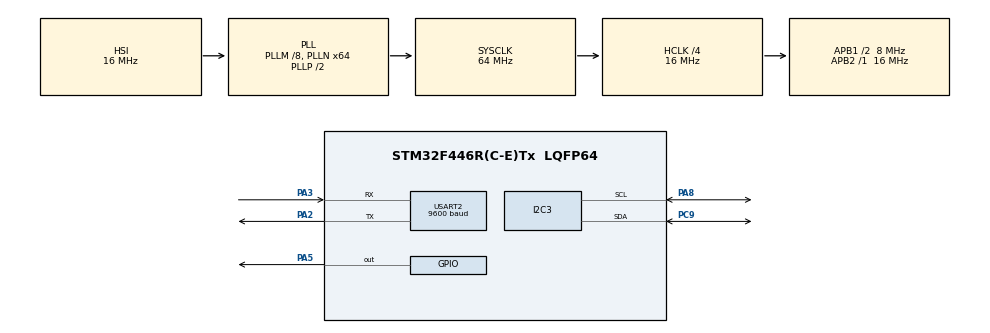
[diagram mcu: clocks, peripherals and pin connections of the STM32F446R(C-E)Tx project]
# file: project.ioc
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I2C3.I2C_Mode=I2C_Standard
Mcu.Family=STM32F4
Mcu.Name=STM32F446R(C-E)Tx
Mcu.Package=LQFP64
NVIC.PriorityGroup=NVIC_PRIORITYGROUP_4
NVIC.RCC_IRQn=true\:0\:0\:false\:false\:true\:true
PA2.Mode=Asynchronous
PA2.Signal=USART2_TX
PA3.Mode=Asynchronous
PA3.Signal=USART2_RX
PA5.Signal=GPIO_Output
PA8.Mode=I2C
PA8.Signal=I2C3_SCL
PC9.Mode=I2C
PC9.Signal=I2C3_SDA
PH0-OSC_IN.Mode=HSE-External-Oscillator
PH0-OSC_IN.Signal=RCC_OSC_IN
PH1-OSC_OUT.Mode=HSE-External-Oscillator
PH1-OSC_OUT.Signal=RCC_OSC_OUT
ProjectManager.HeapSize=0x200
ProjectManager.StackSize=0x400
ProjectManager.TargetToolchain=EWARM
RCC.AHBCLKDivider=RCC_SYSCLK_DIV4
RCC.AHBFreq_Value=16000000
RCC.APB1CLKDivider=RCC_HCLK_DIV2
RCC.APB1Freq_Value=8000000
RCC.APB1TimFreq_Value=16000000
RCC.APB2Freq_Value=16000000
RCC.APB2TimFreq_Value=16000000
RCC.CortexFreq_Value=16000000
RCC.HCLKFreq_Value=16000000
RCC.PLLM=8
RCC.PLLN=64
RCC.SYSCLKFreq_VALUE=64000000
RCC.SYSCLKSource=RCC_SYSCLKSOURCE_PLLCLK
RCC.USBFreq_Value=64000000
RCC.VCOOutputFreq_Value=128000000
USART2.BaudRate=9600
USART2.VirtualMode=VM_ASYNC
board=project

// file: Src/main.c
/**
  ******************************************************************************
  * File Name          : main.c
  * Description        : Main program body
  ******************************************************************************
  ** This notice applies to any and all portions of this file
  * that are not between comment pairs USER CODE BEGIN and
  * USER CODE END. Other portions of this file, whether
  * inserted by the user or by software development tools
  * are owned by their respective copyright owners.
  *
  * COPYRIGHT(c) 2017 STMicroelectronics
  *
  * Redistribution and use in source and binary forms, with or without modification,
  * are permitted provided that the following conditions are met:
  *   1. Redistributions of source code must retain the above copyright notice,
  *      this list of conditions and the following disclaimer.
  *   2. Redistributions in binary form must reproduce the above copyright notice,
  *      this list of conditions and the following disclaimer in the documentation
  *      and/or other materials provided with the distribution.
  *   3. Neither the name of STMicroelectronics nor the names of its contributors
  *      may be used to endorse or promote products derived from this software
  *      without specific prior written permission.
  *
  * THIS SOFTWARE IS PROVIDED BY THE COPYRIGHT HOLDERS AND CONTRIBUTORS "AS IS"
  * AND ANY EXPRESS OR IMPLIED WARRANTIES, INCLUDING, BUT NOT LIMITED TO, THE
  * IMPLIED WARRANTIES OF MERCHANTABILITY AND FITNESS FOR A PARTICULAR PURPOSE ARE
  * DISCLAIMED. IN NO EVENT SHALL THE COPYRIGHT HOLDER OR CONTRIBUTORS BE LIABLE
  * FOR ANY DIRECT, INDIRECT, INCIDENTAL, SPECIAL, EXEMPLARY, OR CONSEQUENTIAL
  * DAMAGES (INCLUDING, BUT NOT LIMITED TO, PROCUREMENT OF SUBSTITUTE GOODS OR
  * SERVICES; LOSS OF USE, DATA, OR PROFITS; OR BUSINESS INTERRUPTION) HOWEVER
  * CAUSED AND ON ANY THEORY OF LIABILITY, WHETHER IN CONTRACT, STRICT LIABILITY,
  * OR TORT (INCLUDING NEGLIGENCE OR OTHERWISE) ARISING IN ANY WAY OUT OF THE USE
  * OF THIS SOFTWARE, EVEN IF ADVISED OF THE POSSIBILITY OF SUCH DAMAGE.
  *
  ******************************************************************************
  */
#include "main.h"
#include "stm32f4xx_hal.h"

/* USER CODE BEGIN Includes */
#include "mpu9250.h"

/* USER CODE END Includes */

I2C_HandleTypeDef hi2c3;

UART_HandleTypeDef huart2;

/* USER CODE BEGIN PV */

uint8_t buffer[6];
uint8_t  data[6];

float gyroscope[3];
float acceleration[3];
/* Private variables ---------------------------------------------------------*/

/* USER CODE END PV */

void SystemClock_Config(void);
static void MX_GPIO_Init(void);
static void MX_I2C3_Init(void);
static void MX_USART2_UART_Init(void);

/* USER CODE BEGIN PFP */
/* Private function prototypes -----------------------------------------------*/
#ifdef __GNUC__
  #define PUTCHAR_PROTOTYPE int __io_putchar(int ch)
#else
  #define PUTCHAR_PROTOTYPE int fputc(int ch, FILE *f)
#endif
/* USER CODE END PFP */

/* USER CODE BEGIN 0 */
PUTCHAR_PROTOTYPE
{
  HAL_UART_Transmit(&huart2, (uint8_t *)&ch, 1, 0xFFFF);
  HAL_StatusTypeDef HAL_UART_Transmit(UART_HandleTypeDef *huart, uint8_t *pData,
                                      uint16_t Size, uint32_t TimeOut);
  return ch;
}
/* USER CODE END 0 */

int main(void)
{
  uint8_t comState = 0;
  /* USER CODE BEGIN 1 */
  float gyroscope_bias[3];
  float accelerometer_bias[3];;

  float temperature;

  /* USER CODE END 1 */

  /* MCU Configuration----------------------------------------------------------*/

  /* Reset of all peripherals, Initializes the Flash interface and the Systick. */
  HAL_Init();

  /* Configure the system clock */
  SystemClock_Config();

  /* Initialize all configured peripherals */
  MX_GPIO_Init();
  MX_I2C3_Init();
  MX_USART2_UART_Init();

  /* USER CODE BEGIN 2 */

  printf("Initialazing..\n\r");
  MPU9250_InitSensor(&hi2c3);

  printf("Conecting..\n\r");
  comState = MPU9250_Connect(&hi2c3);

  HAL_Delay(20);
  if(comState){
    printf("Connected!!\n\r");
    printf("-----------------------\n\r");
    HAL_GPIO_WritePin(GPIOA, GPIO_PIN_5, GPIO_PIN_SET);
  }

   MPU9250_Config(&hi2c3);

  /* USER CODE END 2 */

  /* Infinite loop */
  /* USER CODE BEGIN WHILE */
//  MPU9250_calibrate(&hi2c3, accelerometer_bias, gyroscope_bias);

  while (1)
  {
    MPU9250_Accelerometer(&hi2c3, acceleration);
    MPU9250_Gyroscope(&hi2c3, gyroscope);

    acceleration[0] -= accelerometer_bias[0];
    acceleration[1] -= accelerometer_bias[1];
    acceleration[2] -= accelerometer_bias[2];

    gyroscope[0] -= gyroscope_bias[0];
    gyroscope[1] -= gyroscope_bias[1];
    gyroscope[2] -= gyroscope_bias[2];

    MPU9250_Temperature(&hi2c3, &temperature);

    printf("GYRO-------------------------------------->>>\n\r");
    printf("gyroX: %f\n\r", gyroscope[0]);
    printf("gyroY: %f\n\r", gyroscope[1]);
    printf("gyroZ: %f\n\r", gyroscope[2]);

    printf("ACCE-------------------------------------->>>\n\r");
    printf("accelerationX: %f\n\r", acceleration[0]);
    printf("accelerationY: %f\n\r", acceleration[1]);
    printf("accelerationZ: %f\n\r", acceleration[2]);

    printf("TEMP-------------------------------------->>>\n\r");
    printf("temperature: %f\n\r", temperature);

    HAL_Delay(500);
  /* USER CODE END WHILE */

  }

}

/** System Clock Configuration
*/
void SystemClock_Config(void)
{

  RCC_OscInitTypeDef RCC_OscInitStruct;
  RCC_ClkInitTypeDef RCC_ClkInitStruct;

    /**Configure the main internal regulator output voltage
    */
  __HAL_RCC_PWR_CLK_ENABLE();

  __HAL_PWR_VOLTAGESCALING_CONFIG(PWR_REGULATOR_VOLTAGE_SCALE3);

    /**Initializes the CPU, AHB and APB busses clocks
    */
  RCC_OscInitStruct.OscillatorType = RCC_OSCILLATORTYPE_HSI;
  RCC_OscInitStruct.HSIState = RCC_HSI_ON;
  RCC_OscInitStruct.HSICalibrationValue = 16;
  RCC_OscInitStruct.PLL.PLLState = RCC_PLL_ON;
  RCC_OscInitStruct.PLL.PLLSource = RCC_PLLSOURCE_HSI;
  RCC_OscInitStruct.PLL.PLLM = 8;
  RCC_OscInitStruct.PLL.PLLN = 64;
  RCC_OscInitStruct.PLL.PLLP = RCC_PLLP_DIV2;
  RCC_OscInitStruct.PLL.PLLQ = 2;
  RCC_OscInitStruct.PLL.PLLR = 2;
  if (HAL_RCC_OscConfig(&RCC_OscInitStruct) != HAL_OK)
  {
    _Error_Handler(__FILE__, __LINE__);
  }

    /**Initializes the CPU, AHB and APB busses clocks
    */
  RCC_ClkInitStruct.ClockType = RCC_CLOCKTYPE_HCLK|RCC_CLOCKTYPE_SYSCLK
                              |RCC_CLOCKTYPE_PCLK1|RCC_CLOCKTYPE_PCLK2;
  RCC_ClkInitStruct.SYSCLKSource = RCC_SYSCLKSOURCE_PLLCLK;
  RCC_ClkInitStruct.AHBCLKDivider = RCC_SYSCLK_DIV4;
  RCC_ClkInitStruct.APB1CLKDivider = RCC_HCLK_DIV2;
  RCC_ClkInitStruct.APB2CLKDivider = RCC_HCLK_DIV1;

  if (HAL_RCC_ClockConfig(&RCC_ClkInitStruct, FLASH_LATENCY_0) != HAL_OK)
  {
    _Error_Handler(__FILE__, __LINE__);
  }

    /**Configure the Systick interrupt time
    */
  HAL_SYSTICK_Config(HAL_RCC_GetHCLKFreq()/1000);

    /**Configure the Systick
    */
  HAL_SYSTICK_CLKSourceConfig(SYSTICK_CLKSOURCE_HCLK);

  /* SysTick_IRQn interrupt configuration */
  HAL_NVIC_SetPriority(SysTick_IRQn, 0, 0);
}

/* I2C3 init function */
static void MX_I2C3_Init(void)
{

  hi2c3.Instance = I2C3;
  hi2c3.Init.ClockSpeed = 100000;
  hi2c3.Init.DutyCycle = I2C_DUTYCYCLE_2;
  hi2c3.Init.OwnAddress1 = 0;
  hi2c3.Init.AddressingMode = I2C_ADDRESSINGMODE_7BIT;
  hi2c3.Init.DualAddressMode = I2C_DUALADDRESS_DISABLE;
  hi2c3.Init.OwnAddress2 = 0;
  hi2c3.Init.GeneralCallMode = I2C_GENERALCALL_DISABLE;
  hi2c3.Init.NoStretchMode = I2C_NOSTRETCH_DISABLE;
  if (HAL_I2C_Init(&hi2c3) != HAL_OK)
  {
    _Error_Handler(__FILE__, __LINE__);
  }

}

/* USART2 init function */
static void MX_USART2_UART_Init(void)
{

  huart2.Instance = USART2;
  huart2.Init.BaudRate = 9600;
  huart2.Init.WordLength = UART_WORDLENGTH_8B;
  huart2.Init.StopBits = UART_STOPBITS_1;
  huart2.Init.Parity = UART_PARITY_NONE;
  huart2.Init.Mode = UART_MODE_TX_RX;
  huart2.Init.HwFlowCtl = UART_HWCONTROL_NONE;
  huart2.Init.OverSampling = UART_OVERSAMPLING_16;
  if (HAL_UART_Init(&huart2) != HAL_OK)
  {
    _Error_Handler(__FILE__, __LINE__);
  }

}

/** Configure pins as
        * Analog
        * Input
        * Output
        * EVENT_OUT
        * EXTI
*/
static void MX_GPIO_Init(void)
{

  GPIO_InitTypeDef GPIO_InitStruct;

  /* GPIO Ports Clock Enable */
  __HAL_RCC_GPIOH_CLK_ENABLE();
  __HAL_RCC_GPIOA_CLK_ENABLE();
  __HAL_RCC_GPIOC_CLK_ENABLE();

  /*Configure GPIO pin Output Level */
  HAL_GPIO_WritePin(GPIOA, GPIO_PIN_5, GPIO_PIN_RESET);

  /*Configure GPIO pin : PA5 */
  GPIO_InitStruct.Pin = GPIO_PIN_5;
  GPIO_InitStruct.Mode = GPIO_MODE_OUTPUT_PP;
  GPIO_InitStruct.Pull = GPIO_NOPULL;
  GPIO_InitStruct.Speed = GPIO_SPEED_FREQ_LOW;
  HAL_GPIO_Init(GPIOA, &GPIO_InitStruct);

}

void _Error_Handler(char * file, int line)
{
  while(1)
  {
  }
}

/************************ (C) COPYRIGHT STMicroelectronics *****END OF FILE****/
